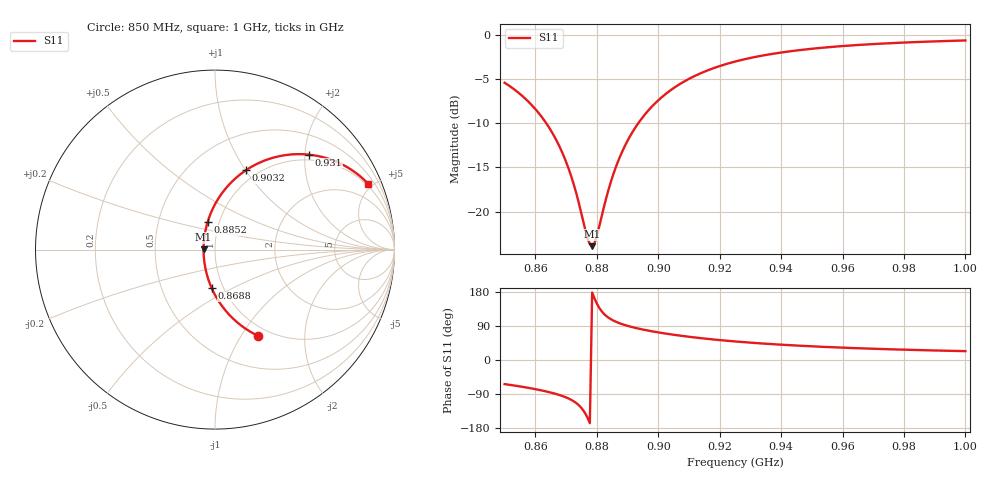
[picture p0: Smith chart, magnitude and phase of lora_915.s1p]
! Synthetic NanoVNA-style sweep for s1pdiff self-test
# Hz S RI R 50
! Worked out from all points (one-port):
!   201 points, 850 MHz to 1 GHz, reference 50 ohm
!   lowest |S11| = -23.9 dB at 878.5 MHz (marker M1), VSWR 1.14, Z = 44 + j0.205 ohm
!   |S11| at or under -10 dB: 863.6 MHz to 893.5 MHz (29.95 MHz wide, 3.41 % of centre)
!   S11 on the Smith chart (normalised r, x): 850 MHz: 0.88, -1.18; 868.8 MHz: 0.88, -0.40; 885.2 MHz: 0.88, +0.28; 903.2 MHz: 0.88, +1.00; 931 MHz: 0.88, +2.09; 1 GHz: 0.88, +4.68
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8.5e8  0.2381 -0.4796
8.5525e8  0.1568 -0.4313
8.605e8  0.0793 -0.363
8.65e8  0.021 -0.2882
8.6875e8  -0.0183 -0.2154
8.71e8  -0.0366 -0.1679
8.725e8  -0.0464 -0.135
8.74e8  -0.0541 -0.1014
8.77e8  -0.0628 -0.0325
8.7775e8  -0.0636 -0.0151
8.785e8  -0.0638 0.00232
8.7925e8  -0.0635 0.0197
8.8e8  -0.0625 0.037
8.83e8  -0.0533 0.1053
8.8525e8  -0.0408 0.1548
8.875e8  -0.0239 0.2021
8.905e8  0.0045 0.2608
8.9425e8  0.0478 0.3261
8.9875e8  0.1078 0.3913
9.0325e8  0.1724 0.4422
9.0625e8  0.2163 0.4685
9.1525e8  0.3432 0.517
9.25e8  0.4629 0.5319
9.31e8  0.5254 0.5288
9.4375e8  0.6321 0.506
9.625e8  0.7389 0.4578
9.8125e8  0.8071 0.4099
1e9  0.8522 0.3679
